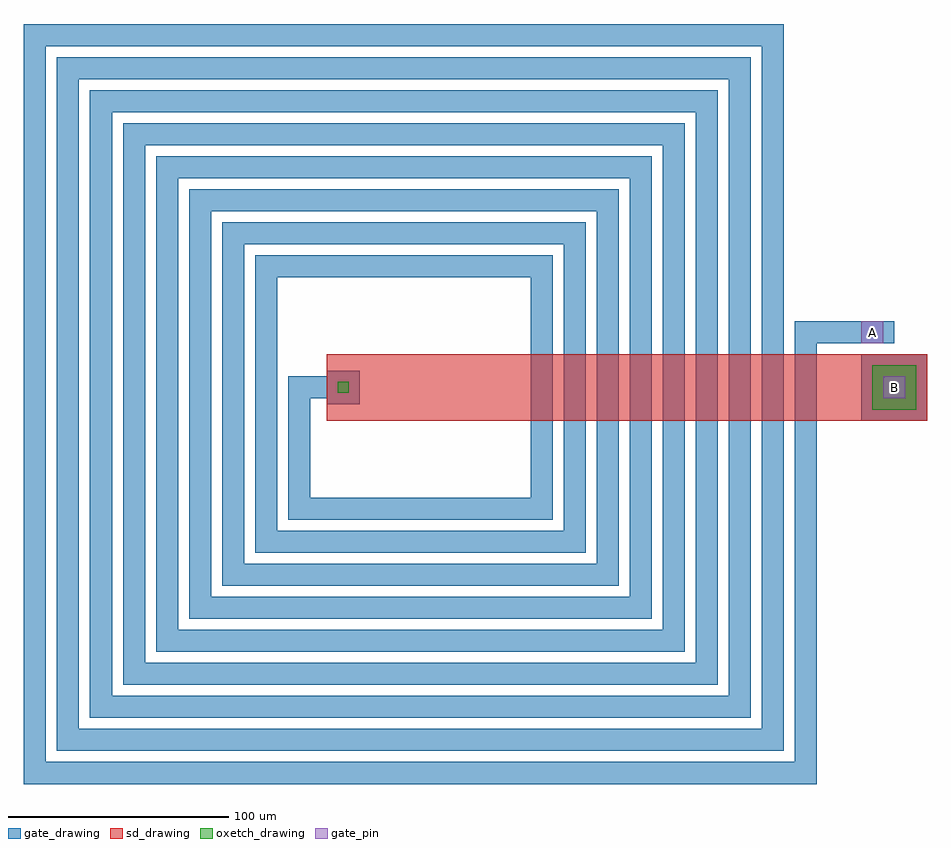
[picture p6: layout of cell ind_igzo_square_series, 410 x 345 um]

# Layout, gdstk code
import gdstk
lib = gdstk.Library(unit=1e-6, precision=1e-09)
def R(c, l, rs):  # rectangles x0, y0, x1, y1
    for r in rs: c.add(gdstk.rectangle(r[:2], r[2:], *l))
def P(c, l, *ps):  # polygons
    for p in ps: c.add(gdstk.Polygon(p, *l))
gate_drawing = (2, 0)
gate_pin = (2, 10)
oxetch_drawing = (5, 0)
sd_drawing = (6, 0)

ind_igzo_square_series = lib.new_cell('ind_igzo_square_series')
R(ind_igzo_square_series, gate_drawing, [(200,-15,230,15), (-42.5,-7.5,-27.5,7.5), (-60,-5,-35,5)])
P(ind_igzo_square_series, gate_drawing, [(-180,-180),(-180,165),(165,165),(165,-165),(-165,-165),(-165,150),(150,150),(150,-150),(-150,-150),(-150,135),(135,135),(135,-135),(-135,-135),(-135,120),(120,120),(120,-120),(-120,-120),(-120,105),(105,105),(105,-105),(-105,-105),(-105,90),(90,90),(90,-90),(-90,-90),(-90,75),(75,75),(75,-75),(-75,-75),(-75,60),(60,60),(60,-60),(-60,-60),(-60,1),(-50,1),(-50,-50),(50,-50),(50,50),(-65,50),(-65,-65),(65,-65),(65,65),(-80,65),(-80,-80),(80,-80),(80,80),(-95,80),(-95,-95),(95,-95),(95,95),(-110,95),(-110,-110),(110,-110),(110,110),(-125,110),(-125,-125),(125,-125),(125,125),(-140,125),(-140,-140),(140,-140),(140,140),(-155,140),(-155,-155),(155,-155),(155,155),(-170,155),(-170,-170),(170,-170),(170,30),(215,30),(215,20),(180,20),(180,-180)])
R(ind_igzo_square_series, gate_pin, [(210,-5,220,5), (200,20,210,30)])
R(ind_igzo_square_series, oxetch_drawing, [(205,-10,225,10), (-37.5,-2.5,-32.5,2.5)])
R(ind_igzo_square_series, sd_drawing, [(-42.5,-15,230,15)])
ind_igzo_square_series.add(gdstk.Label('A', (205,25), layer=2, texttype=10))
ind_igzo_square_series.add(gdstk.Label('B', (215,0), layer=2, texttype=10))
ind_igzo_square_series.add(gdstk.Label('ind_igzo 16.38nH / 379Ohm @ 100MHz / Q 0.03', (0,-205), layer=63, texttype=0))

lib.write_gds('ind_igzo_square_series.gds')
